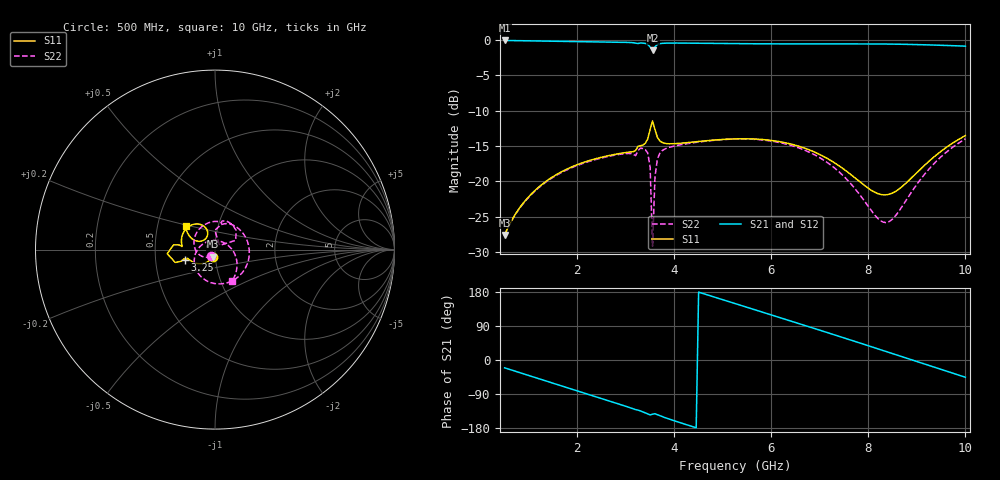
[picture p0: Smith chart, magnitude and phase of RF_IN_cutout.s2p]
! Touchstone file exported from HFSS 3D Layout Design 2026.1.0
!  File:  F:/1.Hardware/HFSS/SP8T/SP8T_HFSS.aedt
!  Generated:  10:48:17 PM Aug  6, 2026
!  Design:  RF_IN_cutout
!  Project:  SP8T_HFSS
! Variables:
!  BendModel = 0
# GHz S MA R 50.000000
! Terminal data exported
! Port[1] = Port1
! Port[2] = S1_1_Pin_T1
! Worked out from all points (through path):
!   191 points, 500 MHz to 10 GHz, reference 50 ohm
!   highest |S21| = -0.05 dB at 500 MHz (marker M1); lowest = -1.5 dB at 3.55 GHz (marker M2)
!   group delay of S21, straight-line fit = 112 ps
!   lowest |S11| = -27.6 dB at 500 MHz (marker M3), VSWR 1.09, Z = 48.7 - j3.89 ohm
!   |S11| at or under -10 dB: start of sweep to end of sweep
!   |S22| runs from -29.2 to -14.0 dB; largest |S21 - S12| = 1.1e-13
!   S11 on the Smith chart (normalised r, x): 500 MHz: 0.97, -0.08; 3.25 GHz: 0.71, -0.08; 10 GHz: 0.70, +0.19
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0.5  0.0416 -106.7  0.9945 -20.6  0.9945 -20.6  0.04144 -120.5
0.85  0.06756 -116.5  0.9903 -34.9  0.9903 -34.9  0.06719 -140.3
1.35  0.09958 -129.5  0.984 -55.2  0.984 -55.2  0.09856 -168.5
2.1  0.1349 -146.9  0.9748 -85.5  0.9748 -85.5  0.1332 147.6
2.7  0.1532 -158.2  0.9681 -109.8  0.9681 -109.8  0.1514 109.9
3.25  0.1768 -161.5  0.947 -132.3  0.947 -132.3  0.165 75.8
3.45  0.1993 -161.0  0.9334 -142.4  0.9334 -142.4  0.159 42.2
3.5  0.2328 -162.0  0.8941 -145.0  0.8941 -145.0  0.1265 24.1
3.55  0.2672 -175.1  0.8456 -143.0  0.8456 -143.0  0.03466 42.2
3.6  0.2326 173.5  0.897 -141.8  0.897 -141.8  0.1069 90.6
3.65  0.2049 172.5  0.9307 -144.3  0.9307 -144.3  0.144 76.3
3.7  0.1932 173.4  0.9433 -147.0  0.9433 -147.0  0.1579 66.8
4.05  0.185 173.4  0.9533 -162.5  0.9533 -162.5  0.1792 33.7
4.45  0.1905 168.3  0.9507 -178.9  0.9507 -178.9  0.1886 6.7
5.25  0.1995 154.2  0.9444 149.0  0.9444 149.0  0.1991 -41.8
6.1  0.1925 136.2  0.9405 114.9  0.9405 114.9  0.1899 -89.2
6.85  0.1632 120.5  0.9405 84.7  0.9405 84.7  0.1564 -130.5
7.6  0.1142 112.2  0.9414 54.1  0.9414 54.1  0.09931 -178.4
8.2  0.0816 126.2  0.9396 29.3  0.9396 29.3  0.0543 114.7
8.45  0.0813 138.8  0.9375 18.9  0.9375 18.9  0.05229 70.0
9.2  0.1338 155.2  0.9259 -12.3  0.9259 -12.3  0.1167 -15.2
10  0.2104 140.7  0.9066 -45.5  0.9066 -45.5  0.1995 -62.0
